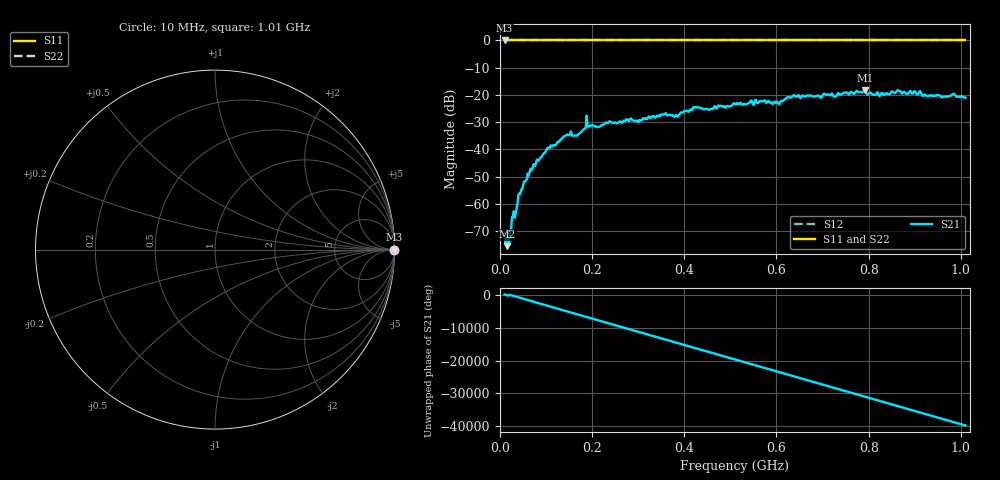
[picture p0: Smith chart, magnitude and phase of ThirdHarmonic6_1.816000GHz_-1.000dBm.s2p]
! 8/16/2025 10:00:30 PM
! C:\ANRITSUVNA\TEMP\TEMP.S2P
! CHANNEL.1
! TR.MEASUREMENT
! RAW.DATA
! RF.CORRECTION.OFF
! AVERAGING.OFF
! IF.BANDWIDTH: 5KHZ
! SWEEPTYPE:  FREQ.SWEEP(Linear)
! Reference Plane Port Info
! PORT:  PORT1  PORT2
! DISTANCE:  0  m  0  m
! TIME:  0  s  0  s
! PHASE.OFFSET:  0  deg.  0  deg.
! LOSS:  0  dB  0  dB
! REF.LOSS:  0  dB  0  dB
! REF.FREQ:  0  Hz  0  Hz
! Power Info
! POWER:  -20  dBm  -20  dBm
! EFF.POWER:  -20  dBm  -20  dBm
! SOURCE.ATTEN:  0  dB  0  dB
! TEST.ATTEN:  0  dB  0  dB
# GHZ S RI R 50.0
! FREQ.GHZ  S11RE  S11IM  S21RE  S21IM  S12RE  S12IM  S22RE  S22IM
!; PortSelection: Port_12
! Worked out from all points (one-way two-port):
!   501 points, 10 MHz to 1.01 GHz, reference 50 ohm
!   highest |S21| = -18.25 dB at 792 MHz (marker M1); lowest = -75.5 dB at 16 MHz (marker M2)
!   lowest |S11| = 0.0 dB at 10 MHz (marker M3)
!   |S11| at or under -10 dB: nowhere
!   |S22| runs from 0.0 to 0.0 dB; largest |S21 - S12| = 1.1
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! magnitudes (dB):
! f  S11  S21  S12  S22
! 10 MHz  0.0  -70.7  0.0  0.0
! 16 MHz  0.0  -75.5  0.0  0.0
! 20 MHz  0.0  -75.1  0.0  0.0
! 26 MHz  0.0  -64.8  0.0  0.0
! 44 MHz  0.0  -56.3  0.0  0.0
! 70 MHz  0.0  -47.1  0.0  0.0
! 106 MHz  0.0  -39.3  0.0  0.0
! 142 MHz  0.0  -34.9  0.0  0.0
! 178 MHz  0.0  -33.3  0.0  0.0
! 192 MHz  0.0  -31.6  0.0  0.0
! 214 MHz  0.0  -31.7  0.0  0.0
! 344 MHz  0.0  -27.9  0.0  0.0
! 382 MHz  0.0  -27.3  0.0  0.0
! 424 MHz  0.0  -24.5  0.0  0.0
! 510 MHz  0.0  -23.4  0.0  0.0
! 602 MHz  0.0  -22.4  0.0  0.0
! 638 MHz  0.0  -20.1  0.0  0.0
! 678 MHz  0.0  -20.5  0.0  0.0
! 792 MHz  0.0  -18.3  0.0  0.0
! 844 MHz  0.0  -19.8  0.0  0.0
! 864 MHz  0.0  -18.3  0.0  0.0
! 1.01 GHz  0.0  -21.0  0.0  0.0
